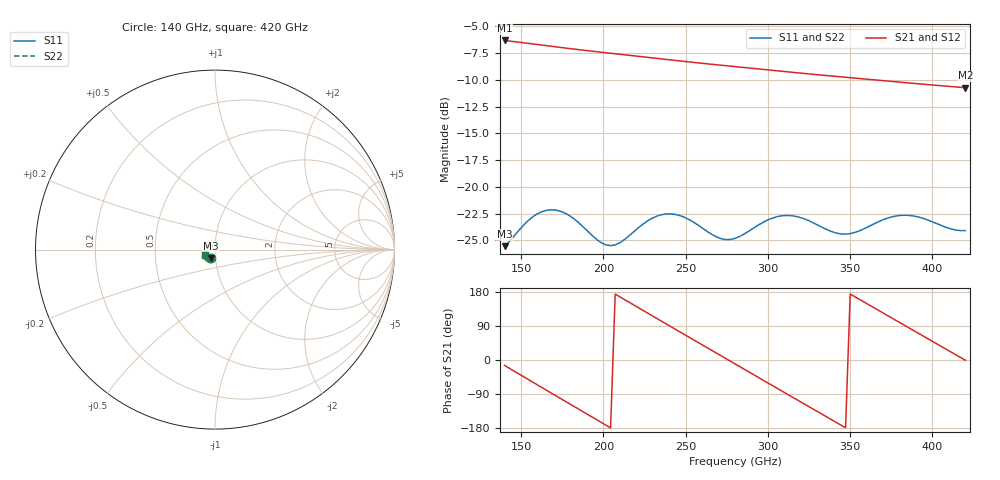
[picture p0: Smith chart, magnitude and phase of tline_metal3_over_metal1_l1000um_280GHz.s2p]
#  GHZ S DB R 50
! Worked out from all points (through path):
!   101 points, 140 GHz to 420 GHz, reference 50 ohm
!   highest |S21| = -6.32 dB at 140 GHz (marker M1); lowest = -10.7 dB at 420 GHz (marker M2)
!   group delay of S21, straight-line fit = 7 ps
!   lowest |S11| = -25.6 dB at 140 GHz (marker M3), VSWR 1.11, Z = 47.4 - j4.44 ohm
!   |S11| at or under -10 dB: start of sweep to end of sweep
!   |S22| runs from -25.5 to -22.1 dB; largest |S21 - S12| = 4.8e-14
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140  -25.55 -117.8  -6.32 -14.4  -6.32 -14.4  -25.49 -118.2
154  -23.21 -116.0  -6.59 -50.4  -6.59 -50.4  -23.19 -116.2
165.2  -22.21 -125.8  -6.80 -79.2  -6.80 -79.2  -22.18 -125.8
176.4  -22.44 -136.9  -7.02 -107.8  -7.02 -107.8  -22.40 -136.9
187.6  -23.72 -143.6  -7.23 -136.3  -7.23 -136.3  -23.65 -143.7
198.8  -25.23 -140.5  -7.42 -164.8  -7.42 -164.8  -25.14 -140.8
210  -25.23 -130.4  -7.61 166.7  -7.61 166.7  -25.16 -131.2
224  -23.50 -128.2  -7.85 131.2  -7.85 131.2  -23.49 -129.1
235.2  -22.62 -135.0  -8.04 102.8  -8.04 102.8  -22.63 -135.9
246.4  -22.69 -143.3  -8.23 74.5  -8.23 74.5  -22.73 -144.2
260.4  -23.88 -148.9  -8.46 39.2  -8.46 39.2  -23.97 -149.7
280  -24.82 -139.5  -8.77 -10.2  -8.77 -10.2  -24.93 -139.9
294  -23.59 -136.3  -8.98 -45.5  -8.98 -45.5  -23.67 -136.6
305.2  -22.81 -140.7  -9.15 -73.6  -9.15 -73.6  -22.88 -141.0
316.4  -22.75 -147.1  -9.32 -101.7  -9.32 -101.7  -22.82 -147.4
327.6  -23.37 -151.4  -9.49 -129.8  -9.49 -129.8  -23.45 -151.6
338.8  -24.19 -150.4  -9.65 -157.8  -9.65 -157.8  -24.28 -150.6
350  -24.38 -145.3  -9.80 174.1  -9.80 174.1  -24.45 -145.1
375.2  -22.82 -145.0  -10.15 111.1  -10.15 111.1  -22.81 -144.8
394.8  -22.98 -153.3  -10.42 62.1  -10.42 62.1  -22.94 -153.2
408.8  -23.82 -153.9  -10.60 27.2  -10.60 27.2  -23.76 -153.7
420  -24.10 -150.0  -10.74 -0.7  -10.74 -0.7  -24.01 -149.8
